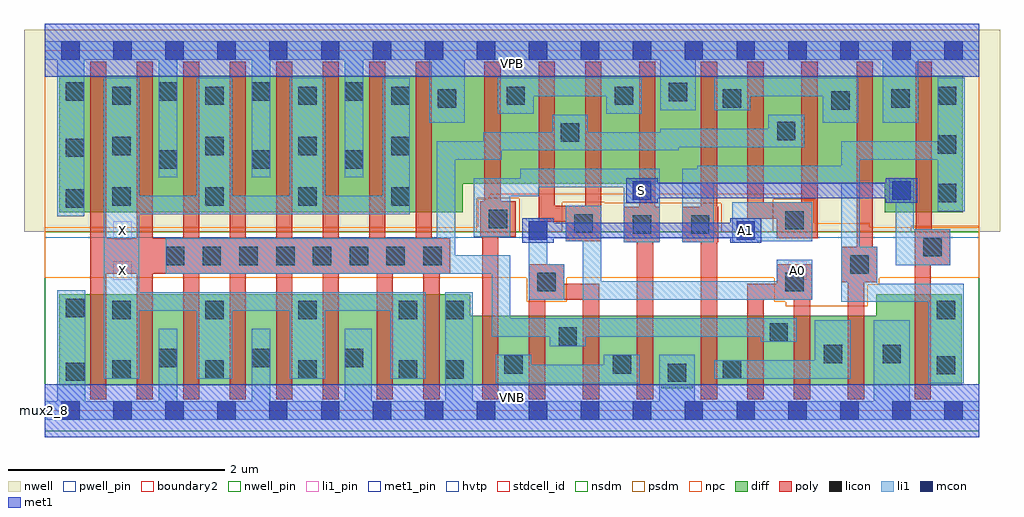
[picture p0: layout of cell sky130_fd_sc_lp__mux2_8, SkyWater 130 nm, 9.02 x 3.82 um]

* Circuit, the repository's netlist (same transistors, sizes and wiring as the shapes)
* Copyright 2020 The SkyWater PDK Authors
*
* Licensed under the Apache License, Version 2.0 (the "License");
* you may not use this file except in compliance with the License.
* You may obtain a copy of the License at
*
*     https://www.apache.org/licenses/LICENSE-2.0
*
* Unless required by applicable law or agreed to in writing, software
* distributed under the License is distributed on an "AS IS" BASIS,
* WITHOUT WARRANTIES OR CONDITIONS OF ANY KIND, either express or implied.
* See the License for the specific language governing permissions and
* limitations under the License.
*
* SPDX-License-Identifier: Apache-2.0

.SUBCKT sky130_fd_sc_lp__mux2_8 A0 A1 S VGND VNB VPB VPWR X
*.PININFO A0:I A1:I S:I VGND:I VNB:I VPB:I VPWR:I X:O
MMNA00 xb A0 smdNA0 VNB sky130_fd_pr__nfet_01v8 m=2 w=0.64U l=0.15U mult=1 sa=0.265
+ sb=0.265 sd=0.28 area=0.063 perim=1.14
MMNA01 smdNA0 Sb VGND VNB sky130_fd_pr__nfet_01v8 m=2 w=0.64U l=0.15U mult=1 sa=0.265
+ sb=0.265 sd=0.28 area=0.063 perim=1.14
MMNA10 xb A1 sndNA1 VNB sky130_fd_pr__nfet_01v8 m=2 w=0.64U l=0.15U mult=1 sa=0.265
+ sb=0.265 sd=0.28 area=0.063 perim=1.14
MMNA11 sndNA1 S VGND VNB sky130_fd_pr__nfet_01v8 m=2 w=0.64U l=0.15U mult=1 sa=0.265
+ sb=0.265 sd=0.28 area=0.063 perim=1.14
MMIN1 Sb S VGND VNB sky130_fd_pr__nfet_01v8 m=1 w=0.84U l=0.15U mult=1 sa=0.265
+ sb=0.265 sd=0.28 area=0.063 perim=1.14
MMIN2 X xb VGND VNB sky130_fd_pr__nfet_01v8 m=8 w=0.84U l=0.15U mult=1 sa=0.265
+ sb=0.265 sd=0.28 area=0.063 perim=1.14
MMPA00 VPWR S sndPS VPB sky130_fd_pr__pfet_01v8_hvt m=2 w=1.0U l=0.15U mult=1 sa=0.265
+ sb=0.265 sd=0.28 area=0.063 perim=1.14
MMPA01 sndPS A0 xb VPB sky130_fd_pr__pfet_01v8_hvt m=2 w=1.0U l=0.15U mult=1 sa=0.265
+ sb=0.265 sd=0.28 area=0.063 perim=1.14
MMPA10 VPWR Sb sndPSb VPB sky130_fd_pr__pfet_01v8_hvt m=2 w=1.0U l=0.15U mult=1
+ sa=0.265 sb=0.265 sd=0.28 area=0.063 perim=1.14
MMPA11 sndPSb A1 xb VPB sky130_fd_pr__pfet_01v8_hvt m=2 w=1.0U l=0.15U mult=1 sa=0.265
+ sb=0.265 sd=0.28 area=0.063 perim=1.14
MMIP1 Sb S VPWR VPB sky130_fd_pr__pfet_01v8_hvt m=1 w=1.26U l=0.15U mult=1 sa=0.265
+ sb=0.265 sd=0.28 area=0.063 perim=1.14
MMIP2 X xb VPWR VPB sky130_fd_pr__pfet_01v8_hvt m=8 w=1.26U l=0.15U mult=1 sa=0.265
+ sb=0.265 sd=0.28 area=0.063 perim=1.14
.ENDS sky130_fd_sc_lp__mux2_8

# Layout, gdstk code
import gdstk
lib = gdstk.Library(unit=1e-6, precision=1e-09)
def R(c, l, rs):  # rectangles x0, y0, x1, y1
    for r in rs: c.add(gdstk.rectangle(r[:2], r[2:], *l))
def A(c, l, x, y, w, h, nx, ny, dx, dy):  # array of equal rectangles
    R(c, l, [(x+i*dx, y+j*dy, x+i*dx+w, y+j*dy+h) for i in range(nx) for j in range(ny)])
def P(c, l, *ps):  # polygons
    for p in ps: c.add(gdstk.Polygon(p, *l))
nwell_pin = (64, 16)
nwell = (64, 20)
diff = (65, 20)
poly = (66, 20)
licon = (66, 44)
li1_pin = (67, 16)
li1 = (67, 20)
mcon = (67, 44)
met1_pin = (68, 16)
met1 = (68, 20)
hvtp = (78, 44)
stdcell_id = (81, 4)
nsdm = (93, 44)
psdm = (94, 20)
npc = (95, 20)
pwell_pin = (122, 16)
boundary2 = (236, 0)

sky130_fd_sc_lp__mux2_8 = lib.new_cell('sky130_fd_sc_lp__mux2_8')
R(sky130_fd_sc_lp__mux2_8, nwell_pin, [(0,3.085,8.64,3.33)])
R(sky130_fd_sc_lp__mux2_8, nwell, [(-0.19,1.655,8.83,3.52)])
P(sky130_fd_sc_lp__mux2_8, diff, [(8.475,1.075),(7.685,1.075),(7.685,0.875),(3.935,0.875),(3.935,1.075),(0.135,1.075),(0.135,0.235),(5.7,0.235),(5.7,0.205),(5.99,0.205),(5.99,0.235),(8.475,0.235)],
  [(8.485,3.095),(0.135,3.095),(0.135,1.835),(3.865,1.835),(3.865,2.095),(7.765,2.095),(7.765,1.835),(8.485,1.835)])
R(sky130_fd_sc_lp__mux2_8, poly, [(3.5,0.105,3.65,1.265)])
P(sky130_fd_sc_lp__mux2_8, poly, [(3.75,1.595),(3.58,1.595),(3.58,3.225),(3.43,3.225),(3.43,1.595),(3.15,1.595),(3.15,3.225),(3,3.225),(3,1.595),(2.72,1.595),(2.72,3.225),(2.57,3.225),(2.57,1.595),(2.29,1.595),(2.29,3.225),(2.14,3.225),(2.14,1.595),(1.86,1.595),(1.86,3.225),(1.71,3.225),(1.71,1.595),(1.43,1.595),(1.43,3.225),(1.28,3.225),(1.28,1.595),(1,1.595),(1,3.225),(0.85,3.225),(0.85,1.595),(0.57,1.595),(0.57,3.225),(0.42,3.225),(0.42,0.105),(0.57,0.105),(0.57,1.265),(0.85,1.265),(0.85,0.105),(1,0.105),(1,1.265),(1.28,1.265),(1.28,0.105),(1.43,0.105),(1.43,1.265),(1.71,1.265),(1.71,0.105),(1.86,0.105),(1.86,1.265),(2.14,1.265),(2.14,0.105),(2.29,0.105),(2.29,1.265),(2.57,1.265),(2.57,0.105),(2.72,0.105),(2.72,1.265),(3.07,1.265),(3.07,0.105),(3.22,0.105),(3.22,1.265),(3.75,1.265)],
  [(4.355,1.935),(4.215,1.935),(4.215,3.225),(4.065,3.225),(4.065,1.935),(4.025,1.935),(4.025,1.605),(4.045,1.605),(4.045,0.105),(4.195,0.105),(4.195,1.605),(4.355,1.605)],
  [(5.125,1.175),(4.805,1.175),(4.805,1.355),(4.475,1.355),(4.475,0.105),(4.625,0.105),(4.625,1.025),(4.975,1.025),(4.975,0.105),(5.125,0.105)],
  [(5.145,3.225),(4.995,3.225),(4.995,1.895),(4.715,1.895),(4.715,3.225),(4.565,3.225),(4.565,1.745),(4.815,1.745),(4.815,1.565),(5.145,1.565)],
  [(5.685,1.885),(5.645,1.885),(5.645,3.225),(5.495,3.225),(5.495,1.885),(5.355,1.885),(5.355,1.555),(5.475,1.555),(5.475,0.105),(5.625,0.105),(5.625,1.555),(5.685,1.555)],
  [(6.225,1.885),(6.215,1.885),(6.215,3.225),(6.065,3.225),(6.065,1.885),(5.895,1.885),(5.895,1.555),(6.065,1.555),(6.065,0.105),(6.215,0.105),(6.215,1.555),(6.225,1.555)],
  [(7.095,1.355),(6.765,1.355),(6.765,1.175),(6.495,1.175),(6.495,0.105),(6.645,0.105),(6.645,1.025),(6.925,1.025),(6.925,0.105),(7.075,0.105),(7.075,1.025),(7.095,1.025)],
  [(7.145,3.225),(6.995,3.225),(6.995,1.925),(6.645,1.925),(6.645,3.225),(6.495,3.225),(6.495,1.775),(6.765,1.775),(6.765,1.595),(7.145,1.595)],
  [(7.695,1.515),(7.655,1.515),(7.655,3.225),(7.505,3.225),(7.505,1.515),(7.365,1.515),(7.365,1.185),(7.425,1.185),(7.425,0.105),(7.575,0.105),(7.575,1.185),(7.695,1.185)],
  [(8.37,1.675),(8.2,1.675),(8.2,3.225),(8.05,3.225),(8.05,1.675),(8.04,1.675),(8.04,0.105),(8.19,0.105),(8.19,1.345),(8.37,1.345)])
A(sky130_fd_sc_lp__mux2_8, licon, 0.625, 0.295, 0.17, 0.17, 3, 2, 0.86, 0.55)
A(sky130_fd_sc_lp__mux2_8, licon, 1.055, 0.4, 0.17, 0.17, 3, 2, 0.86, 1.835)
A(sky130_fd_sc_lp__mux2_8, licon, 1.12, 1.345, 0.17, 0.17, 8, 1, 0.34, 0)
A(sky130_fd_sc_lp__mux2_8, licon, 0.625, 1.895, 0.17, 0.17, 4, 3, 0.86, 0.465)
A(sky130_fd_sc_lp__mux2_8, licon, 8.255, 1.925, 0.17, 0.17, 1, 3, 0, 0.45)
A(sky130_fd_sc_lp__mux2_8, licon, 0.195, 2.865, 0.17, 0.17, 4, 1, 0.86, 0)
R(sky130_fd_sc_lp__mux2_8, licon, [(5.76,0.265,5.93,0.435), (0.195,0.275,0.365,0.445), (3.275,0.295,3.445,0.465), (3.705,0.295,3.875,0.465), (6.27,0.295,6.44,0.465), (8.245,0.335,8.415,0.505), (4.25,0.34,4.42,0.51), (5.25,0.34,5.42,0.51), (7.2,0.44,7.37,0.61), (7.745,0.44,7.915,0.61), (4.75,0.6,4.92,0.77), (6.7,0.64,6.87,0.81), (3.275,0.845,3.445,1.015), (3.705,0.845,3.875,1.015), (8.245,0.845,8.415,1.015), (0.195,0.865,0.365,1.035), (4.555,1.105,4.725,1.275), (6.845,1.105,7.015,1.275), (7.445,1.265,7.615,1.435), (8.12,1.425,8.29,1.595), (5.435,1.635,5.605,1.805), (5.975,1.635,6.145,1.805), (4.895,1.645,5.065,1.815), (6.845,1.675,7.015,1.845), (4.105,1.685,4.275,1.855), (0.195,1.875,0.365,2.045), (0.195,2.345,0.365,2.515), (4.77,2.485,4.94,2.655), (6.77,2.5,6.94,2.67), (7.27,2.78,7.44,2.95), (3.635,2.8,3.805,2.97), (6.27,2.8,6.44,2.97), (7.825,2.8,7.995,2.97), (4.27,2.825,4.44,2.995), (5.27,2.825,5.44,2.995), (5.77,2.86,5.94,3.03)])
R(sky130_fd_sc_lp__mux2_8, li1_pin, [(0.635,1.21,0.805,1.38), (6.875,1.21,7.045,1.38), (0.635,1.58,0.805,1.75)])
P(sky130_fd_sc_lp__mux2_8, li1, [(0.115,1.795),(0.115,3.245),(0,3.245),(0,3.415),(8.64,3.415),(8.64,3.245),(8.075,3.245),(8.075,2.66),(7.745,2.66),(7.745,3.245),(6.02,3.245),(6.02,2.775),(5.69,2.775),(5.69,3.245),(3.885,3.245),(3.885,2.66),(3.555,2.66),(3.555,3.245),(2.945,3.245),(2.945,2.155),(2.775,2.155),(2.775,3.245),(2.085,3.245),(2.085,2.155),(1.915,2.155),(1.915,3.245),(1.225,3.245),(1.225,2.155),(1.055,2.155),(1.055,3.245),(0.365,3.245),(0.365,1.795)],
  [(2.775,0.085),(2.775,0.755),(3.025,0.755),(3.025,0.085),(3.705,0.085),(3.705,1.095),(3.955,1.095),(3.955,0.085),(5.68,0.085),(5.68,0.515),(6.01,0.515),(6.01,0.085),(7.665,0.085),(7.665,0.835),(7.995,0.835),(7.995,0.085),(8.64,0.085),(8.64,-0.085),(0,-0.085),(0,0.085),(0.115,0.085),(0.115,1.115),(0.375,1.115),(0.375,0.085),(1.055,0.085),(1.055,0.755),(1.225,0.755),(1.225,0.085),(1.915,0.085),(1.915,0.755),(2.085,0.755),(2.085,0.085)],
  [(3.965,2.15),(4.395,2.15),(4.395,2.235),(5.685,2.235),(5.685,1.555),(5.355,1.555),(5.355,2.065),(4.565,2.065),(4.565,1.98),(4.305,1.98),(4.305,1.605),(3.965,1.605)],
  [(8.035,1.675),(8.37,1.675),(8.37,1.345),(7.865,1.345),(7.865,1.92),(7.805,1.92),(7.805,2.15),(8.035,2.15)],
  [(7.095,1.925),(7.095,1.565),(6.595,1.565),(6.595,1.55),(6.355,1.55),(6.355,1.925)],
  [(4.475,1.025),(4.475,1.78),(4.645,1.78),(4.645,1.355),(4.805,1.355),(4.805,1.025)],
  [(0.545,3.075),(0.875,3.075),(0.875,1.985),(1.405,1.985),(1.405,3.075),(1.735,3.075),(1.735,1.985),(2.265,1.985),(2.265,3.075),(2.595,3.075),(2.595,1.985),(3.125,1.985),(3.125,3.075),(3.375,3.075),(3.375,1.815),(0.875,1.815),(0.875,1.095),(3.525,1.095),(3.525,0.295),(3.195,0.295),(3.195,0.925),(2.595,0.925),(2.595,0.295),(2.265,0.295),(2.265,0.925),(1.735,0.925),(1.735,0.295),(1.405,0.295),(1.405,0.925),(0.875,0.925),(0.875,0.295),(0.545,0.295)],
  [(1.12,1.265),(1.12,1.595),(3.625,1.595),(3.625,2.49),(4.055,2.49),(4.055,2.575),(4.69,2.575),(4.69,2.735),(5.02,2.735),(5.02,2.575),(5.69,2.575),(5.69,2.605),(6.69,2.605),(6.69,2.735),(7.02,2.735),(7.02,2.435),(5.86,2.435),(5.86,2.405),(4.225,2.405),(4.225,2.32),(3.795,2.32),(3.795,1.435),(4.305,1.435),(4.305,0.855),(6.95,0.855),(6.95,0.635),(6.62,0.635),(6.62,0.685),(5,0.685),(5,0.595),(4.67,0.595),(4.67,0.685),(4.135,0.685),(4.135,1.265)],
  [(4.975,1.025),(4.975,1.565),(4.815,1.565),(4.815,1.895),(5.145,1.895),(5.145,1.195),(6.765,1.195),(6.765,1.395),(7.095,1.395),(7.095,1.025)],
  [(7.19,2.905),(6.52,2.905),(6.52,2.775),(6.19,2.775),(6.19,3.075),(7.52,3.075),(7.52,2.66),(7.19,2.66)],
  [(5.52,3.075),(5.52,2.745),(5.19,2.745),(5.19,2.905),(4.52,2.905),(4.52,2.745),(4.19,2.745),(4.19,3.075)],
  [(6.19,0.295),(6.19,0.465),(7.12,0.465),(7.12,0.835),(7.45,0.835),(7.45,0.295)],
  [(4.5,0.425),(5.17,0.425),(5.17,0.515),(5.5,0.515),(5.5,0.255),(4.17,0.255),(4.17,0.515),(4.5,0.515)],
  [(8.505,3.075),(8.255,3.075),(8.255,2.49),(7.365,2.49),(7.365,2.265),(6.03,2.265),(6.03,2.235),(5.895,2.235),(5.895,1.555),(6.185,1.555),(6.185,2.095),(7.365,2.095),(7.365,1.005),(8.165,1.005),(8.165,0.255),(8.495,0.255),(8.495,1.175),(7.695,1.175),(7.695,1.515),(7.535,1.515),(7.535,2.32),(8.255,2.32),(8.255,1.845),(8.505,1.845)])
A(sky130_fd_sc_lp__mux2_8, mcon, 0.155, -0.085, 0.17, 0.17, 18, 2, 0.48, 3.33)
R(sky130_fd_sc_lp__mux2_8, mcon, [(4.475,1.58,4.645,1.75), (6.395,1.58,6.565,1.75), (5.435,1.95,5.605,2.12), (7.835,1.95,8.005,2.12)])
R(sky130_fd_sc_lp__mux2_8, met1_pin, [(0,0,8.64,0.245), (6.395,1.58,6.565,1.75), (5.435,1.95,5.605,2.12), (0,3.085,8.64,3.33)])
R(sky130_fd_sc_lp__mux2_8, met1, [(0,-0.245,8.64,0.245), (0,3.085,8.64,3.575)])
P(sky130_fd_sc_lp__mux2_8, met1, [(5.665,2.105),(7.775,2.105),(7.775,2.15),(8.065,2.15),(8.065,1.92),(7.775,1.92),(7.775,1.965),(5.665,1.965),(5.665,1.92),(5.375,1.92),(5.375,2.15),(5.665,2.15)],
  [(4.705,1.735),(6.335,1.735),(6.335,1.78),(6.625,1.78),(6.625,1.55),(6.335,1.55),(6.335,1.595),(4.705,1.595),(4.705,1.55),(4.415,1.55),(4.415,1.78),(4.705,1.78)])
R(sky130_fd_sc_lp__mux2_8, hvtp, [(0,1.6,8.64,3.33)])
R(sky130_fd_sc_lp__mux2_8, stdcell_id, [(0,0,8.64,3.33)])
R(sky130_fd_sc_lp__mux2_8, nsdm, [(0,-0.19,8.64,1.655)])
P(sky130_fd_sc_lp__mux2_8, psdm, [(8.64,3.52),(0,3.52),(0,1.655),(3.995,1.655),(3.995,1.965),(4.385,1.965),(4.385,1.655),(4.785,1.655),(4.785,1.925),(5.175,1.925),(5.175,1.915),(6.255,1.915),(6.255,1.655),(6.735,1.655),(6.735,1.955),(7.125,1.955),(7.125,1.655),(8.01,1.655),(8.01,1.705),(8.64,1.705)])
P(sky130_fd_sc_lp__mux2_8, npc, [(8.64,1.695),(7.625,1.695),(7.625,1.73),(7.115,1.73),(7.115,1.945),(7.01,1.945),(7.01,2.005),(4.11,2.005),(4.11,1.955),(4.005,1.955),(4.005,1.695),(0,1.695),(0,1.23),(4.455,1.23),(4.455,1.005),(4.825,1.005),(4.825,1.23),(6.745,1.23),(6.745,1.005),(6.85,1.005),(6.85,0.965),(7.61,0.965),(7.61,1.165),(7.715,1.165),(7.715,1.23),(8.64,1.23)])
R(sky130_fd_sc_lp__mux2_8, pwell_pin, [(0,0,8.64,0.245)])
R(sky130_fd_sc_lp__mux2_8, boundary2, [(0,0,8.64,3.33)])
sky130_fd_sc_lp__mux2_8.add(gdstk.Label('VNB', (4.32,0.123), layer=64, texttype=59))
sky130_fd_sc_lp__mux2_8.add(gdstk.Label('VPB', (4.32,3.208), layer=64, texttype=5))
sky130_fd_sc_lp__mux2_8.add(gdstk.Label('mux2_8', (0,0), layer=83, texttype=44))
sky130_fd_sc_lp__mux2_8.add(gdstk.Label('S', (5.52,2.035), layer=68, texttype=5))
sky130_fd_sc_lp__mux2_8.add(gdstk.Label('A1', (6.48,1.665), layer=68, texttype=5))
sky130_fd_sc_lp__mux2_8.add(gdstk.Label('VPWR', (4.32,3.208), layer=68, texttype=5))
sky130_fd_sc_lp__mux2_8.add(gdstk.Label('VGND', (4.32,0.123), layer=68, texttype=5))
sky130_fd_sc_lp__mux2_8.add(gdstk.Label('X', (0.72,1.295), layer=67, texttype=5))
sky130_fd_sc_lp__mux2_8.add(gdstk.Label('X', (0.72,1.665), layer=67, texttype=5))
sky130_fd_sc_lp__mux2_8.add(gdstk.Label('A0', (6.96,1.295), layer=67, texttype=5))

lib.write_gds('sky130_fd_sc_lp__mux2_8.gds')
